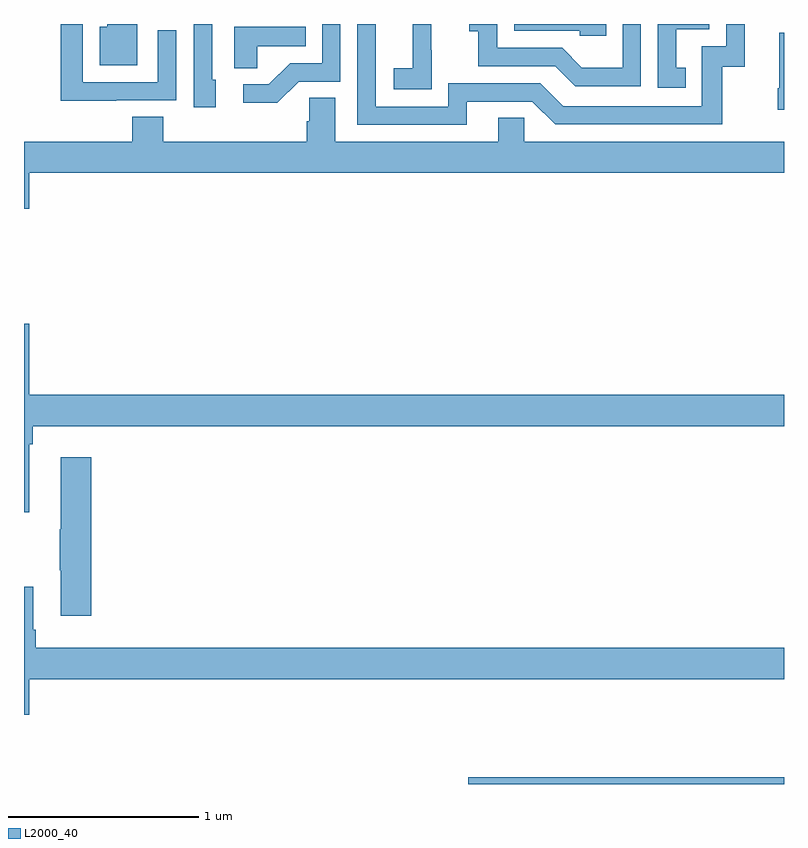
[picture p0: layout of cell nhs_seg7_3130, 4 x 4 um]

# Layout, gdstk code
import gdstk
lib = gdstk.Library(unit=1e-6, precision=1e-09)
def R(c, l, rs):  # rectangles x0, y0, x1, y1
    for r in rs: c.add(gdstk.rectangle(r[:2], r[2:], *l))
def P(c, l, *ps):  # polygons
    for p in ps: c.add(gdstk.Polygon(p, *l))
L2000_40 = (2000, 40)

nhs_seg7_3130 = lib.new_cell('nhs_seg7_3130')
R(nhs_seg7_3130, L2000_40, [(311.339,1064,313,1064.036)])
P(nhs_seg7_3130, L2000_40, [(312.065,1068),(311.58,1068),(311.58,1067.964),(311.925,1067.964),(311.925,1067.937),(312.065,1067.937)],
  [(311.145,1067.863),(311.144,1067.863),(311.144,1068),(311.046,1068),(311.046,1067.996),(311.045,1067.996),(311.045,1067.767),(310.947,1067.767),(310.947,1067.657),(311.145,1067.657)],
  [(310.446,1067.697),(310.665,1067.697),(310.665,1068),(310.569,1068),(310.569,1067.793),(310.4,1067.793),(310.289,1067.682),(310.155,1067.682),(310.155,1067.585),(310.333,1067.585)],
  [(312.482,1067.769),(312.433,1067.769),(312.433,1067.973),(312.606,1067.973),(312.606,1068),(312.336,1068),(312.336,1067.664),(312.482,1067.664)],
  [(310.009,1067.706),(309.99,1067.706),(309.99,1068),(309.894,1068),(309.894,1067.562),(310.009,1067.562)],
  [(309.595,1068),(309.437,1068),(309.437,1067.986),(309.398,1067.986),(309.398,1067.783),(309.595,1067.783)],
  [(311.329,1067.592),(311.676,1067.592),(311.796,1067.472),(312.676,1067.472),(312.676,1067.775),(312.794,1067.775),(312.794,1068),(312.696,1068),(312.696,1067.883),(312.567,1067.883),(312.567,1067.568),(311.838,1067.568),(311.718,1067.688),(311.232,1067.688),(311.232,1067.565),(310.851,1067.565),(310.851,1068),(310.755,1068),(310.755,1067.469),(311.329,1067.469)],
  [(312.246,1068),(312.15,1068),(312.15,1067.77),(311.936,1067.77),(311.832,1067.874),(311.49,1067.874),(311.49,1068),(311.343,1068),(311.343,1067.963),(311.392,1067.963),(311.392,1067.778),(311.795,1067.778),(311.9,1067.673),(312.246,1067.673)],
  [(309.485,1067.598),(309.801,1067.598),(309.801,1067.968),(309.705,1067.968),(309.705,1067.694),(309.309,1067.694),(309.309,1068),(309.193,1068),(309.193,1067.597),(309.485,1067.597)],
  [(310.227,1067.882),(310.484,1067.882),(310.484,1067.986),(310.106,1067.986),(310.106,1067.767),(310.227,1067.767)],
  [(313,1067.953),(312.974,1067.953),(312.974,1067.662),(312.967,1067.662),(312.967,1067.55),(313,1067.55)],
  [(309.028,1067.216),(313,1067.216),(313,1067.38),(311.634,1067.38),(311.634,1067.507),(311.495,1067.507),(311.495,1067.38),(310.639,1067.38),(310.639,1067.612),(310.5,1067.612),(310.5,1067.489),(310.487,1067.489),(310.487,1067.38),(309.734,1067.38),(309.734,1067.513),(309.569,1067.513),(309.569,1067.38),(309,1067.38),(309,1067.028),(309.028,1067.028)],
  [(309.028,1065.788),(309.047,1065.788),(309.047,1065.884),(313,1065.884),(313,1066.048),(309.028,1066.048),(309.028,1066.423),(309,1066.423),(309,1065.429),(309.028,1065.429)],
  [(309.353,1065.721),(309.194,1065.721),(309.194,1065.341),(309.187,1065.341),(309.187,1065.124),(309.194,1065.124),(309.194,1064.886),(309.353,1064.886)],
  [(309.028,1064.552),(313,1064.552),(313,1064.716),(309.062,1064.716),(309.062,1064.812),(309.049,1064.812),(309.049,1065.037),(309,1065.037),(309,1064.364),(309.028,1064.364)])

lib.write_gds('nhs_seg7_3130.gds')
